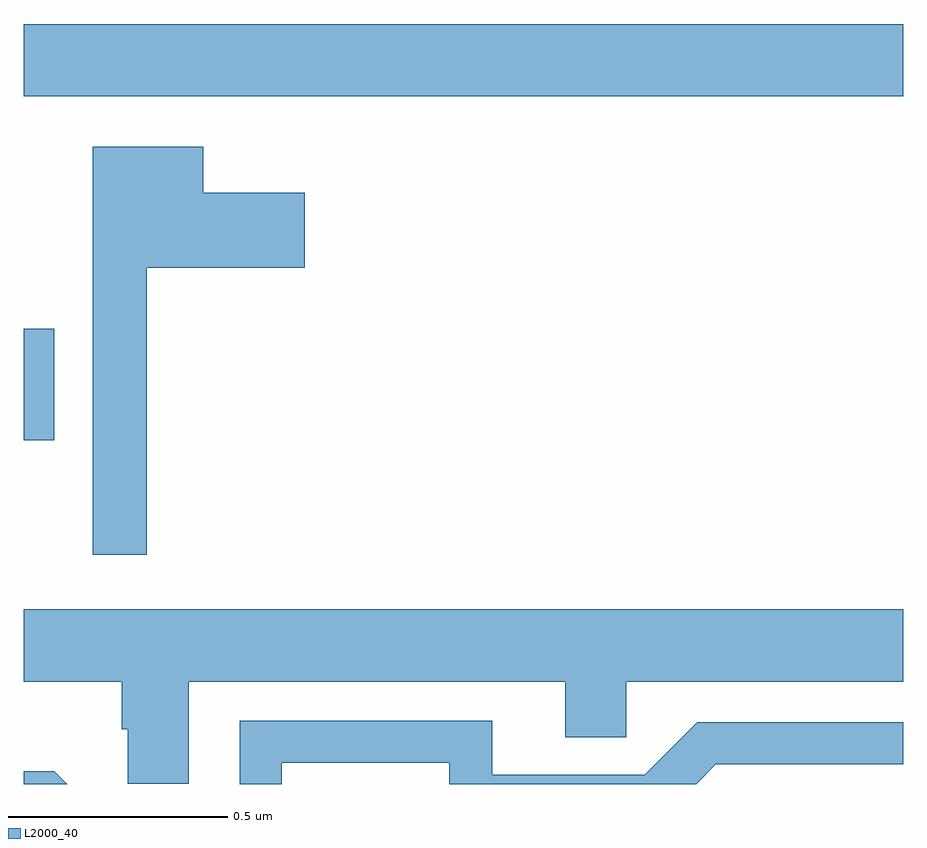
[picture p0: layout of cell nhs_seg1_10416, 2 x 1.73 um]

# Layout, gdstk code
import gdstk
lib = gdstk.Library(unit=1e-6, precision=1e-09)
def R(c, l, rs):  # rectangles x0, y0, x1, y1
    for r in rs: c.add(gdstk.rectangle(r[:2], r[2:], *l))
def P(c, l, *ps):  # polygons
    for p in ps: c.add(gdstk.Polygon(p, *l))
L2000_40 = (2000, 40)

nhs_seg1_10416 = lib.new_cell('nhs_seg1_10416')
R(nhs_seg1_10416, L2000_40, [(241,518.981,241.069,519.235), (241,519.764,243,519.928)])
P(nhs_seg1_10416, L2000_40, [(241.279,519.374),(241.639,519.374),(241.639,519.544),(241.408,519.544),(241.408,519.649),(241.157,519.649),(241.157,518.721),(241.279,518.721)],
  [(241.375,518.432),(242.231,518.432),(242.231,518.305),(242.37,518.305),(242.37,518.432),(243,518.432),(243,518.596),(241,518.596),(241,518.432),(241.223,518.432),(241.223,518.323),(241.236,518.323),(241.236,518.2),(241.375,518.2)],
  [(241.587,518.247),(241.968,518.247),(241.968,518.199),(242.529,518.199),(242.574,518.244),(243,518.244),(243,518.34),(242.532,518.34),(242.412,518.22),(242.065,518.22),(242.065,518.343),(241.491,518.343),(241.491,518.199),(241.587,518.199)],
  [(241.069,518.228),(241,518.228),(241,518.199),(241.098,518.199)])

lib.write_gds('nhs_seg1_10416.gds')
